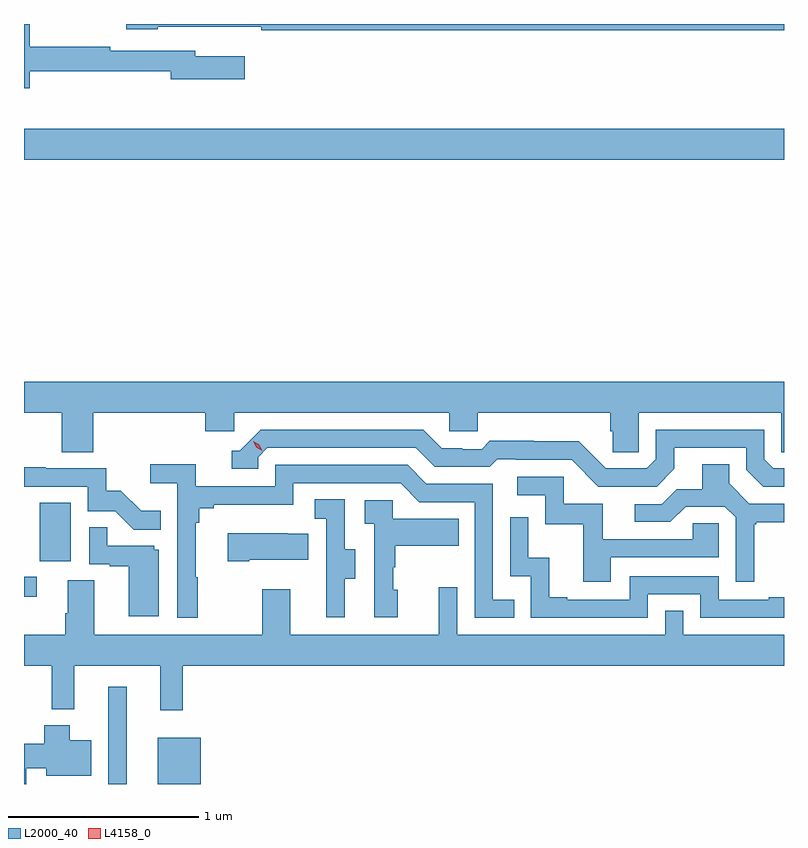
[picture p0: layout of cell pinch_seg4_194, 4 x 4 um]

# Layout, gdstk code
import gdstk
lib = gdstk.Library(unit=1e-6, precision=1e-09)
def R(c, l, rs):  # rectangles x0, y0, x1, y1
    for r in rs: c.add(gdstk.rectangle(r[:2], r[2:], *l))
def P(c, l, *ps):  # polygons
    for p in ps: c.add(gdstk.Polygon(p, *l))
L2000_40 = (2000, 40)
L4158_0 = (4158, 0)

pinch_seg4_194 = lib.new_cell('pinch_seg4_194')
R(pinch_seg4_194, L2000_40, [(957.777,824.17,957.874,824.683), (958.037,824.17,958.264,824.413), (957.334,825.156,957.4,825.261), (957.416,825.342,957.58,825.649), (957.334,827.456,961.334,827.62)])
P(pinch_seg4_194, L2000_40, [(957.364,827.922),(958.106,827.922),(958.106,827.879),(958.495,827.879),(958.495,828.001),(958.234,828.001),(958.234,828.03),(957.788,828.03),(957.788,828.05),(957.364,828.05),(957.364,828.17),(957.334,828.17),(957.334,827.832),(957.364,827.832)],
  [(961.334,828.17),(957.872,828.17),(957.872,828.143),(958.038,828.143),(958.038,828.156),(958.33,828.156),(958.33,828.155),(958.582,828.155),(958.582,828.136),(961.334,828.136)],
  [(957.698,826.124),(958.289,826.124),(958.289,826.026),(958.44,826.026),(958.44,826.124),(959.571,826.124),(959.571,826.026),(959.721,826.026),(959.721,826.124),(960.419,826.124),(960.419,826.026),(960.433,826.026),(960.433,825.916),(960.57,825.916),(960.57,826.124),(961.32,826.124),(961.32,825.916),(961.334,825.916),(961.334,826.288),(957.334,826.288),(957.334,826.124),(957.533,826.124),(957.533,825.916),(957.698,825.916)],
  [(960.757,825.829),(960.757,825.939),(961.134,825.939),(961.134,825.825),(961.224,825.735),(961.334,825.735),(961.334,825.831),(961.278,825.831),(961.23,825.879),(961.23,826.035),(960.66,826.035),(960.66,825.879),(960.612,825.831),(960.396,825.831),(960.254,825.973),(960.018,825.973),(960.018,825.976),(959.785,825.976),(959.743,825.933),(959.64,825.933),(959.64,825.936),(959.533,825.936),(959.434,826.035),(958.581,826.035),(958.47,825.924),(958.427,825.924),(958.427,825.828),(958.566,825.828),(958.566,825.891),(958.614,825.939),(959.397,825.939),(959.496,825.84),(959.785,825.84),(959.824,825.879),(959.923,825.879),(959.923,825.876),(960.216,825.876),(960.357,825.735),(960.663,825.735)],
  [(958.249,825.257),(958.237,825.257),(958.237,825.545),(958.256,825.545),(958.256,825.622),(958.333,825.622),(958.333,825.641),(958.752,825.641),(958.752,825.753),(959.316,825.753),(959.415,825.654),(959.706,825.654),(959.706,825.045),(959.915,825.045),(959.915,825.141),(959.802,825.141),(959.802,825.75),(959.452,825.75),(959.353,825.849),(958.656,825.849),(958.656,825.738),(958.238,825.738),(958.238,825.854),(957.999,825.854),(957.999,825.752),(958.14,825.752),(958.14,825.045),(958.249,825.045)],
  [(961.177,825.537),(961.189,825.537),(961.189,825.548),(961.334,825.548),(961.334,825.645),(961.152,825.645),(961.045,825.752),(961.045,825.854),(960.905,825.854),(960.905,825.722),(960.77,825.722),(960.69,825.642),(960.549,825.642),(960.549,825.549),(960.736,825.549),(960.817,825.63),(961.023,825.63),(961.08,825.573),(961.08,825.234),(961.177,825.234)],
  [(958.055,825.607),(957.951,825.607),(957.844,825.714),(957.768,825.714),(957.768,825.831),(957.449,825.831),(957.449,825.836),(957.334,825.836),(957.334,825.735),(957.669,825.735),(957.669,825.606),(957.813,825.606),(957.911,825.508),(958.055,825.508)],
  [(960.421,825.363),(960.99,825.363),(960.99,825.543),(960.853,825.543),(960.853,825.459),(960.379,825.459),(960.379,825.645),(960.174,825.645),(960.174,825.786),(959.931,825.786),(959.931,825.69),(960.078,825.69),(960.078,825.537),(960.277,825.537),(960.277,825.234),(960.421,825.234)],
  [(959.023,825.25),(959.077,825.25),(959.077,825.405),(959.022,825.405),(959.022,825.668),(958.863,825.668),(958.863,825.565),(958.926,825.565),(958.926,825.261),(958.925,825.261),(958.925,825.048),(959.023,825.048)],
  [(959.302,825.192),(959.277,825.192),(959.277,825.311),(959.287,825.311),(959.287,825.425),(959.621,825.425),(959.621,825.565),(959.274,825.565),(959.274,825.663),(959.127,825.663),(959.127,825.539),(959.178,825.539),(959.178,825.048),(959.302,825.048)],
  [(960.618,825.168),(960.894,825.168),(960.894,825.045),(961.334,825.045),(961.334,825.154),(961.253,825.154),(961.253,825.141),(960.99,825.141),(960.99,825.264),(960.522,825.264),(960.522,825.141),(960.193,825.141),(960.193,825.154),(960.098,825.154),(960.098,825.362),(959.988,825.362),(959.988,825.574),(959.892,825.574),(959.892,825.264),(960,825.264),(960,825.045),(960.618,825.045)],
  [(958.042,825.402),(958.02,825.402),(958.02,825.423),(957.773,825.423),(957.773,825.521),(957.678,825.521),(957.678,825.327),(957.785,825.327),(957.785,825.315),(957.884,825.315),(957.884,825.054),(958.042,825.054)],
  [(958.519,825.35),(958.829,825.35),(958.829,825.487),(958.721,825.487),(958.721,825.49),(958.407,825.49),(958.407,825.343),(958.519,825.343)],
  [(958.169,824.792),(961.334,824.792),(961.334,824.956),(960.804,824.956),(960.804,825.083),(960.708,825.083),(960.708,824.956),(959.613,824.956),(959.613,825.205),(959.516,825.205),(959.516,824.956),(958.735,824.956),(958.735,825.196),(958.588,825.196),(958.588,824.956),(957.703,824.956),(957.703,825.242),(957.563,825.242),(957.563,825.068),(957.551,825.068),(957.551,824.956),(957.334,824.956),(957.334,824.792),(957.481,824.792),(957.481,824.564),(957.599,824.564),(957.599,824.792),(958.052,824.792),(958.052,824.559),(958.169,824.559)],
  [(957.345,824.254),(957.452,824.254),(957.452,824.213),(957.688,824.213),(957.688,824.401),(957.574,824.401),(957.574,824.479),(957.44,824.479),(957.44,824.383),(957.334,824.383),(957.334,824.17),(957.345,824.17)])
P(pinch_seg4_194, L4158_0, [(958.587,825.923),(958.556,825.942),(958.54,825.975),(958.54,825.975),(958.54,825.975),(958.571,825.956),(958.588,825.924),(958.588,825.923)])

lib.write_gds('pinch_seg4_194.gds')
